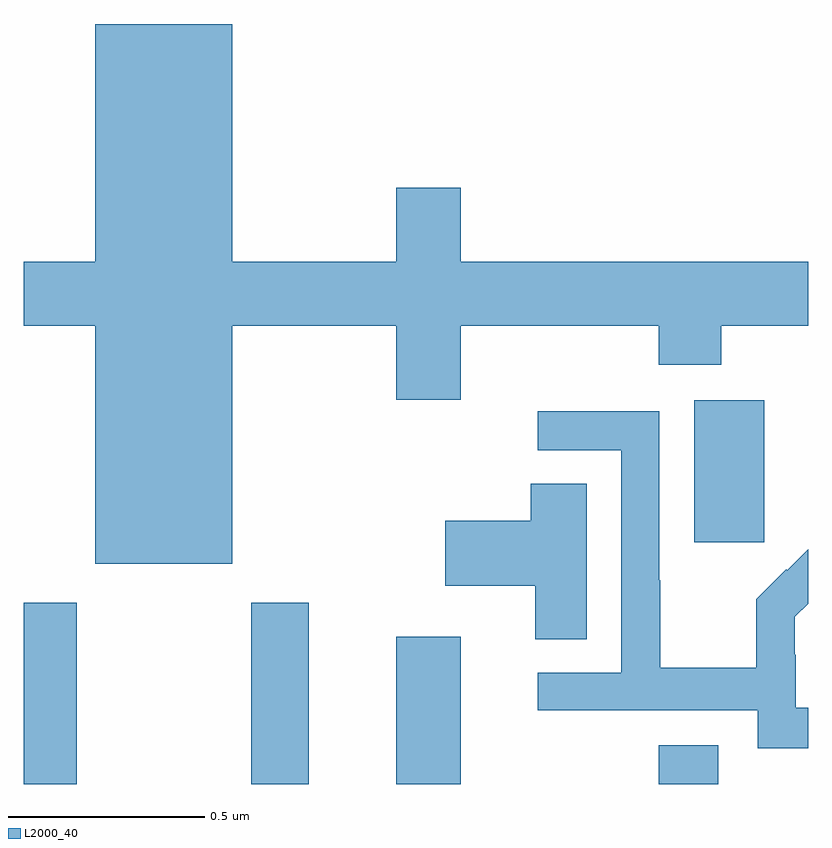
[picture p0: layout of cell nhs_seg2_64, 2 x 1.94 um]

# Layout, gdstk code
import gdstk
lib = gdstk.Library(unit=1e-6, precision=1e-09)
def R(c, l, rs):  # rectangles x0, y0, x1, y1
    for r in rs: c.add(gdstk.rectangle(r[:2], r[2:], *l))
def P(c, l, *ps):  # polygons
    for p in ps: c.add(gdstk.Polygon(p, *l))
L2000_40 = (2000, 40)

nhs_seg2_64 = lib.new_cell('nhs_seg2_64')
R(nhs_seg2_64, L2000_40, [(111,647.8,111.135,648.262), (111.58,647.8,111.727,648.262), (111.95,647.8,112.114,648.175), (112.619,647.8,112.771,647.899), (112.709,648.417,112.888,648.778)])
P(nhs_seg2_64, L2000_40, [(111.532,648.968),(111.95,648.968),(111.95,648.78),(112.114,648.78),(112.114,648.968),(112.619,648.968),(112.619,648.869),(112.779,648.869),(112.779,648.968),(113,648.968),(113,649.132),(112.114,649.132),(112.114,649.321),(111.95,649.321),(111.95,649.132),(111.532,649.132),(111.532,649.738),(111.182,649.738),(111.182,649.132),(111,649.132),(111,648.968),(111.182,648.968),(111.182,648.362),(111.532,648.362)],
  [(113,647.995),(112.968,647.995),(112.968,648.129),(112.966,648.129),(112.966,648.226),(113,648.26),(113,648.398),(112.947,648.345),(112.944,648.348),(112.867,648.271),(112.867,648.097),(112.623,648.097),(112.623,648.32),(112.62,648.32),(112.62,648.75),(112.311,648.75),(112.311,648.651),(112.524,648.651),(112.524,648.084),(112.311,648.084),(112.311,647.988),(112.872,647.988),(112.872,647.891),(113,647.891)],
  [(112.435,648.566),(112.292,648.566),(112.292,648.471),(112.074,648.471),(112.074,648.305),(112.304,648.305),(112.304,648.169),(112.435,648.169)])

lib.write_gds('nhs_seg2_64.gds')
